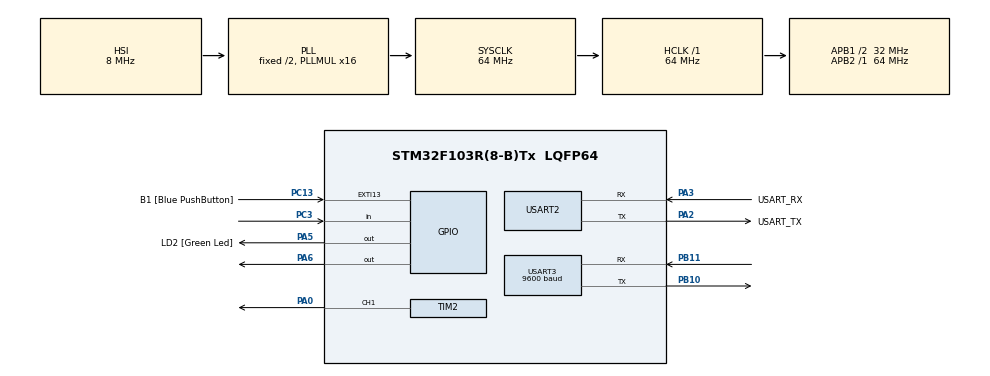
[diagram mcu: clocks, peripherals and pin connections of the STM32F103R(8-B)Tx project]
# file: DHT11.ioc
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Dma.Request0=TIM2_CH1
Dma.TIM2_CH1.0.Direction=DMA_MEMORY_TO_PERIPH
Dma.TIM2_CH1.0.Instance=DMA1_Channel5
Dma.TIM2_CH1.0.MemDataAlignment=DMA_MDATAALIGN_HALFWORD
Dma.TIM2_CH1.0.MemInc=DMA_MINC_ENABLE
Dma.TIM2_CH1.0.Mode=DMA_CIRCULAR
Dma.TIM2_CH1.0.PeriphDataAlignment=DMA_PDATAALIGN_HALFWORD
Dma.TIM2_CH1.0.PeriphInc=DMA_PINC_DISABLE
Dma.TIM2_CH1.0.Priority=DMA_PRIORITY_LOW
Mcu.Family=STM32F1
Mcu.Name=STM32F103R(8-B)Tx
Mcu.Package=LQFP64
NVIC.DMA1_Channel5_IRQn=true\:0\:0\:false\:false\:true\:false\:true
NVIC.EXTI15_10_IRQn=true\:0\:0\:false\:false\:true\:true\:true
NVIC.PriorityGroup=NVIC_PRIORITYGROUP_4
NVIC.USART3_IRQn=true\:0\:0\:false\:false\:true\:true\:true
PA0-WKUP.Signal=S_TIM2_CH1_ETR
PA13.GPIO_Label=TMS
PA13.Mode=Serial_Wire
PA13.Signal=SYS_JTMS-SWDIO
PA14.GPIO_Label=TCK
PA14.Mode=Serial_Wire
PA14.Signal=SYS_JTCK-SWCLK
PA2.GPIO_Label=USART_TX
PA2.GPIO_Mode=GPIO_MODE_AF_PP
PA2.GPIO_PuPd=GPIO_NOPULL
PA2.GPIO_Speed=GPIO_SPEED_FREQ_LOW
PA2.Mode=Asynchronous
PA2.Signal=USART2_TX
PA3.GPIO_Label=USART_RX
PA3.GPIO_Mode=GPIO_MODE_AF_PP
PA3.GPIO_PuPd=GPIO_NOPULL
PA3.GPIO_Speed=GPIO_SPEED_FREQ_LOW
PA3.Mode=Asynchronous
PA3.Signal=USART2_RX
PA5.GPIO_Label=LD2 [Green Led]
PA5.GPIO_ModeDefaultOutputPP=GPIO_MODE_OUTPUT_PP
PA5.GPIO_PuPd=GPIO_NOPULL
PA5.GPIO_Speed=GPIO_SPEED_FREQ_LOW
PA5.Signal=GPIO_Output
PA6.Signal=GPIO_Output
PB10.Mode=Asynchronous
PB10.Signal=USART3_TX
PB11.Mode=Asynchronous
PB11.Signal=USART3_RX
PB3.GPIO_Label=SWO
PB3.Signal=SYS_JTDO-TRACESWO
PC13-TAMPER-RTC.GPIO_Label=B1 [Blue PushButton]
PC13-TAMPER-RTC.GPIO_PuPd=GPIO_NOPULL
PC13-TAMPER-RTC.Signal=GPXTI13
PC14-OSC32_IN.Mode=LSE-External-Oscillator
PC14-OSC32_IN.Signal=RCC_OSC32_IN
PC15-OSC32_OUT.Mode=LSE-External-Oscillator
PC15-OSC32_OUT.Signal=RCC_OSC32_OUT
PC3.Signal=GPIO_Input
PD0-OSC_IN.Mode=HSE-External-Clock-Source
PD0-OSC_IN.Signal=RCC_OSC_IN
PD1-OSC_OUT.Mode=HSE-External-Clock-Source
PD1-OSC_OUT.Signal=RCC_OSC_OUT
ProjectManager.HeapSize=0x200
ProjectManager.StackSize=0x400
ProjectManager.TargetToolchain=TrueSTUDIO
RCC.AHBFreq_Value=64000000
RCC.APB1CLKDivider=RCC_HCLK_DIV2
RCC.APB1Freq_Value=32000000
RCC.APB1TimFreq_Value=64000000
RCC.APB2Freq_Value=64000000
RCC.APB2TimFreq_Value=64000000
RCC.HCLKFreq_Value=64000000
RCC.PLLMUL=RCC_PLL_MUL16
RCC.RTCClockSelection=RCC_RTCCLKSOURCE_LSE
RCC.SYSCLKFreq_VALUE=64000000
RCC.SYSCLKSource=RCC_SYSCLKSOURCE_PLLCLK
RCC.USBFreq_Value=64000000
SH.S_TIM2_CH1_ETR.0=TIM2_CH1,PWM Generation1 CH1
TIM1.Period=19999
TIM1.Prescaler=63
TIM2.Channel-PWM\ Generation1\ CH1=TIM_CHANNEL_1
TIM2.Period=20000
TIM2.Prescaler=6
USART2.VirtualMode=VM_ASYNC
USART3.BaudRate=9600
USART3.VirtualMode=VM_ASYNC
VP_TIM1_VS_ClockSourceINT.Mode=Internal
VP_TIM2_VS_ClockSourceINT.Mode=Internal
board=NUCLEO-F103RB

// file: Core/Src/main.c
/* USER CODE BEGIN Header */
/**
  ******************************************************************************
  * @file           : main.c
  * @brief          : Main program body
  ******************************************************************************
  * @attention
  *
  * <h2><center>&copy; Copyright (c) 2020 STMicroelectronics.
  * All rights reserved.</center></h2>
  *
  * This software component is licensed by ST under BSD 3-Clause license,
  * the "License"; You may not use this file except in compliance with the
  * License. You may obtain a copy of the License at:
  *                        opensource.org/licenses/BSD-3-Clause
  *
  ******************************************************************************
  */
/* USER CODE END Header */

#include "main.h"
#include "dma.h"
#include "tim.h"
#include "usart.h"
#include "gpio.h"

/* USER CODE BEGIN Includes */
#include "dht.h"
#include "PID.h"
#include "value.h"
#include <stdio.h>
/* USER CODE END Includes */

/* USER CODE BEGIN PV */

char data[150];
uint8_t check_s=0,Received;
int16_t ierror=0,last_ierror=0,last_error,error=0,derror=0,last_T=0,size = 0,send_time=0,time=0,us_time=0;
uint32_t regulation_value=0;

struct value RH;
struct value Temp;
struct value set;
struct value Kp;
struct value Ti;
struct value Td;

/*
 * Definicja struktury value w pliku value.h
 */

/* USER CODE END PV */

void SystemClock_Config(void);
/* USER CODE BEGIN PFP */
void HAL_SYSTICK_Callback();
void HAL_UART_RxCpltCallback(UART_HandleTypeDef *huart);
void init();
void HAL_TIM_PeriodElapsedCallback(TIM_HandleTypeDef *htim);
/* USER CODE END PFP */

int main(void)
{

  /* MCU Configuration--------------------------------------------------------*/

  /* Reset of all peripherals, Initializes the Flash interface and the Systick. */
  HAL_Init();

  /* Configure the system clock */
  SystemClock_Config();

  /* Initialize all configured peripherals */
  MX_GPIO_Init();
  MX_TIM1_Init();
  MX_USART2_UART_Init();
  MX_DMA_Init();
  MX_TIM2_Init();
  MX_USART3_UART_Init();
  /* USER CODE BEGIN 2 */
  HAL_TIM_Base_Start(&htim1);
  HAL_TIM_PWM_Start_DMA(&htim2,TIM_CHANNEL_1,&regulation_value,1);
  HAL_GPIO_WritePin(GPIOA,GPIO_PIN_6,SET);
  HAL_UART_Receive_IT(&huart3, &Received, 1);
  init();

  /* USER CODE END 2 */

  /* Infinite loop */
  while (1)
  {

    /* USER CODE BEGIN 3 */

	  	  last_T=(100*Temp.integer+Temp.decimal);
	  	  last_ierror=ierror;
	  	  value_conversion(&Temp);
	  	  value_conversion(&RH);
	  	  value_conversion(&Kp);
	  	  value_conversion(&Ti);
	  	  value_conversion(&Td);
	  	  value_conversion(&set);
	  	  /*
	  	   * value.h
	  	   */
	  	  last_T=Temp.calculation_value;
	  	  last_ierror=ierror;
	  	  last_error=error;
	  	  if ( DHT11_start() ) {
	  		  	  DHT11_get_H(&RH.integer,&RH.decimal);
	  		  	  DHT11_get_T(&Temp.integer,&Temp.decimal);
	  		  	  DHT11_checksum(&check_s);
	  		  	  /*
	  		  	   * dht.h
	  		  	   */
	  	  }
	  	  size = sprintf(data, "TEMP: %d.%d \n\rsetT: %d.%d \n\rKp: %d.%d \n\rTi: %d.%d \n\rTd: %d.%d \n\r \n\r \n\r",Temp.integer,Temp.decimal,set.integer,set.decimal,Kp.integer, Kp.decimal,Ti.integer,Ti.decimal,Td.integer,Td.decimal);
	  	  if ( time >= 500 ) {
	  		  	  error=pid_calculate_error(set.calculation_value,Temp.calculation_value);
	  		  	  ierror=pid_calculate_ierror(error,last_error,last_ierror);
	  		  	  derror=pid_calculate_derror(error,last_error);
	  		  	  regulation_value=pid(error,ierror,derror,Kp.calculation_value,Ti.calculation_value,Td.calculation_value);
	  		  	  time=0;
	  		  	  /*
	  		  	   * PID.h
	  		  	   */
	  	  }
  }
  /* USER CODE END 3 */
}

void SystemClock_Config(void)
{
  RCC_OscInitTypeDef RCC_OscInitStruct = {0};
  RCC_ClkInitTypeDef RCC_ClkInitStruct = {0};

  /** Initializes the CPU, AHB and APB busses clocks
  */
  RCC_OscInitStruct.OscillatorType = RCC_OSCILLATORTYPE_HSI;
  RCC_OscInitStruct.HSIState = RCC_HSI_ON;
  RCC_OscInitStruct.HSICalibrationValue = RCC_HSICALIBRATION_DEFAULT;
  RCC_OscInitStruct.PLL.PLLState = RCC_PLL_ON;
  RCC_OscInitStruct.PLL.PLLSource = RCC_PLLSOURCE_HSI_DIV2;
  RCC_OscInitStruct.PLL.PLLMUL = RCC_PLL_MUL16;
  if (HAL_RCC_OscConfig(&RCC_OscInitStruct) != HAL_OK)
  {
    Error_Handler();
  }
  /** Initializes the CPU, AHB and APB busses clocks
  */
  RCC_ClkInitStruct.ClockType = RCC_CLOCKTYPE_HCLK|RCC_CLOCKTYPE_SYSCLK
                              |RCC_CLOCKTYPE_PCLK1|RCC_CLOCKTYPE_PCLK2;
  RCC_ClkInitStruct.SYSCLKSource = RCC_SYSCLKSOURCE_PLLCLK;
  RCC_ClkInitStruct.AHBCLKDivider = RCC_SYSCLK_DIV1;
  RCC_ClkInitStruct.APB1CLKDivider = RCC_HCLK_DIV2;
  RCC_ClkInitStruct.APB2CLKDivider = RCC_HCLK_DIV1;

  if (HAL_RCC_ClockConfig(&RCC_ClkInitStruct, FLASH_LATENCY_2) != HAL_OK)
  {
    Error_Handler();
  }
}

/* USER CODE BEGIN 4 */
void HAL_SYSTICK_Callback()
{
	time++;
	send_time++;
	if ( send_time >= 1000 ) {
			HAL_UART_Transmit_IT(&huart3, data, size);
			send_time=0;
	}
}

/*
 * Co 1s odœwie¿a interfejs na telefonie wysy³aj¹c wiadomoœc przygotowan¹ w funkcji main
 */

void HAL_TIM_PeriodElapsedCallback(TIM_HandleTypeDef *htim)
{
	if ( htim->Instance == TIM3 ) {
			us_time++;
	}
}

void HAL_UART_RxCpltCallback(UART_HandleTypeDef *huart)
{
	switch (Received) {
	case 84:
		 	value_increase(&set);
	break;
	case 116:
		 	value_decrease(&set);
	break;
	case 75:
			value_increase(&Kp);
	break;
	case 107:
			value_decrease(&Kp);
	break;
	case 73:
			value_increase(&Ti);
	break;
	case 105:
			value_decrease(&Ti);
	break;
	case 68:
			value_increase(&Td);
	break;
	case 100:
			value_decrease(&Td);
	break;
	default:
	break;
	}
	HAL_UART_Receive_IT(&huart3, &Received, 1);
}

/*
 * Pozwala zmieniac wartoœci poszczególnych nastaw regulatora przy pomocy aplikacji na telefonie
 */

void init()
{
	  RH.integer = 0;
	  RH.decimal = 0;
	  Temp.integer = 0;
	  Temp.decimal = 0;
	  Kp.integer = 4;
	  Kp.decimal = 50;
	  Ti.integer = 1;
	  Ti.decimal = 0;
	  Td.integer = 0;
	  Td.decimal = 50;
	  set.integer = 26;
	  set.decimal = 0;
}

/*
 * Inicjalizuje pocz¹tkowe nastawy regulatora
 */

/* USER CODE END 4 */

void Error_Handler(void)
{
}

/************************ (C) COPYRIGHT STMicroelectronics *****END OF FILE****/
